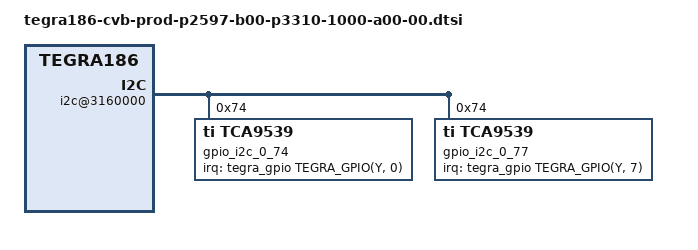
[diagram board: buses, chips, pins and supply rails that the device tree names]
/*
 * tegra186-cvb-prod-p2597-b00-p3310-1000-a00-00.dtsi: CVB-PROD P2597-B00 with
 *				P3310-1000
 *
 * Copyright (c) 2015, NVIDIA CORPORATION.  All rights reserved.
 *
 * This program is free software; you can redistribute it and/or modify
 * it under the terms of the GNU General Public License as published by
 * the Free Software Foundation; version 2 of the License.
 *
 * This program is distributed in the hope that it will be useful, but WITHOUT
 * ANY WARRANTY; without even the implied warranty of MERCHANTABILITY or
 * FITNESS FOR A PARTICULAR PURPOSE.  See the GNU General Public License for
 * more details.
 */

#include <dt-bindings/gpio/tegra-gpio.h>

/ {

	i2c@3160000 {
		gpio_i2c_0_74: gpio@74 {
			compatible = "ti,tca9539";
			reg = <0x74>;
			gpio-controller;
			#gpio-cells = <2>;
			interrupt-parent = <&tegra_gpio>;
			interrupts = <TEGRA_GPIO(Y, 0) 0x0>;
		};

		gpio_i2c_0_77: gpio@77 {
			compatible = "ti,tca9539";
			reg = <0x74>;
			gpio-controller;
			#gpio-cells = <2>;
			interrupt-parent = <&tegra_gpio>;
			interrupts = <TEGRA_GPIO(Y, 7) 0x0>;
		};
	};
};
